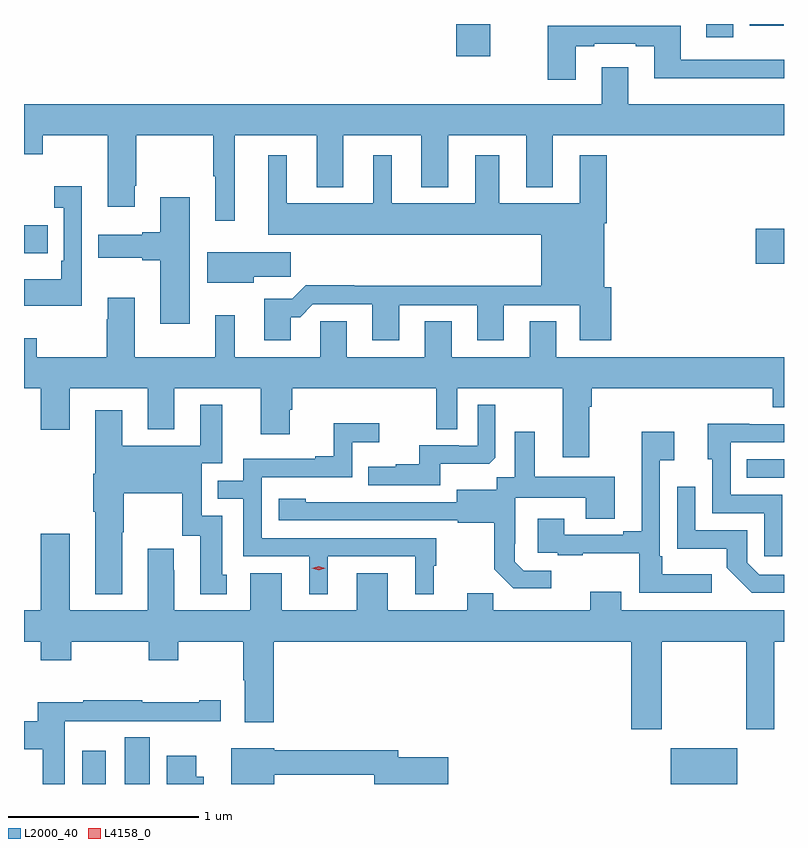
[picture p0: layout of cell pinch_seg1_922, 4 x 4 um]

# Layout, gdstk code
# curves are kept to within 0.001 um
import gdstk
lib = gdstk.Library(unit=1e-6, precision=1e-09)
def R(c, l, rs):  # rectangles x0, y0, x1, y1
    for r in rs: c.add(gdstk.rectangle(r[:2], r[2:], *l))
def P(c, l, *ps):  # polygons
    for p in ps: c.add(gdstk.Polygon(p, *l))
L2000_40 = (2000, 40)
L4158_0 = (4158, 0)

pinch_seg1_922 = lib.new_cell('pinch_seg1_922')
R(pinch_seg1_922, L2000_40, [(144.938,569.63,145.06,569.806), (145.16,569.63,145.294,569.876), (148.034,569.63,148.384,569.818), (148.435,571.242,148.631,571.338), (148.482,572.369,148.631,572.552), (144.631,572.423,144.755,572.571), (146.906,573.459,147.084,573.63), (148.223,573.561,148.363,573.63), (148.451,573.62,148.63,573.63)])
P(pinch_seg1_922, L2000_40, [(147.535,573.513),(147.631,573.513),(147.631,573.525),(147.851,573.525),(147.851,573.513),(147.947,573.513),(147.947,573.344),(148.631,573.344),(148.631,573.441),(148.087,573.441),(148.087,573.622),(147.388,573.622),(147.388,573.336),(147.535,573.336)],
  [(145.741,573.044),(146.171,573.044),(146.171,572.771),(146.311,572.771),(146.311,573.044),(146.723,573.044),(146.723,572.771),(146.863,572.771),(146.863,573.044),(147.275,573.044),(147.275,572.771),(147.415,572.771),(147.415,573.044),(148.631,573.044),(148.631,573.208),(147.811,573.208),(147.811,573.403),(147.671,573.403),(147.671,573.208),(144.631,573.208),(144.631,572.945),(144.729,572.945),(144.729,573.044),(145.073,573.044),(145.073,572.667),(145.213,572.667),(145.213,572.779),(145.221,572.779),(145.221,573.044),(145.627,573.044),(145.627,572.828),(145.637,572.828),(145.637,572.595),(145.741,572.595)],
  [(146.035,572.087),(146.084,572.087),(146.151,572.154),(146.465,572.154),(146.465,571.965),(146.605,571.965),(146.605,572.151),(147.017,572.151),(147.017,571.965),(147.157,571.965),(147.157,572.151),(147.557,572.151),(147.557,571.965),(147.722,571.965),(147.722,572.244),(147.685,572.244),(147.685,572.582),(147.698,572.582),(147.698,572.938),(147.557,572.938),(147.557,572.686),(147.133,572.686),(147.133,572.938),(147.005,572.938),(147.005,572.686),(146.566,572.686),(146.566,572.938),(146.468,572.938),(146.468,572.686),(146.014,572.686),(146.014,572.938),(145.916,572.938),(145.916,572.522),(147.353,572.522),(147.353,572.252),(146.369,572.252),(146.369,572.255),(146.114,572.255),(146.044,572.185),(145.895,572.185),(145.895,571.965),(146.035,571.965)],
  [(144.936,572.776),(144.789,572.776),(144.789,572.663),(144.84,572.663),(144.84,572.383),(144.828,572.383),(144.828,572.287),(144.631,572.287),(144.631,572.147),(144.936,572.147)],
  [(145.504,572.719),(145.349,572.719),(145.349,572.534),(145.253,572.534),(145.253,572.521),(145.023,572.521),(145.023,572.399),(145.253,572.399),(145.253,572.387),(145.349,572.387),(145.349,572.052),(145.504,572.052)],
  [(145.84,572.299),(146.035,572.299),(146.035,572.428),(145.596,572.428),(145.596,572.267),(145.84,572.267)],
  [(147.607,571.616),(147.62,571.616),(147.62,571.712),(148.571,571.712),(148.571,571.613),(148.631,571.613),(148.631,571.876),(147.433,571.876),(147.433,572.066),(147.293,572.066),(147.293,571.876),(146.881,571.876),(146.881,572.066),(146.741,572.066),(146.741,571.876),(146.329,571.876),(146.329,572.066),(146.19,572.066),(146.19,571.876),(145.741,571.876),(145.741,572.098),(145.637,572.098),(145.637,571.876),(145.213,571.876),(145.213,572.188),(145.073,572.188),(145.073,572.075),(145.066,572.075),(145.066,571.876),(144.699,571.876),(144.699,571.975),(144.631,571.975),(144.631,571.712),(144.719,571.712),(144.719,571.494),(144.871,571.494),(144.871,571.712),(145.283,571.712),(145.283,571.496),(145.423,571.496),(145.423,571.712),(145.877,571.712),(145.877,571.47),(146.029,571.47),(146.029,571.599),(146.042,571.599),(146.042,571.712),(146.802,571.712),(146.802,571.498),(146.91,571.498),(146.91,571.712),(147.467,571.712),(147.467,571.35),(147.607,571.35)],
  [(146.821,571.316),(147.079,571.316),(147.111,571.347),(147.111,571.627),(147.018,571.627),(147.018,571.41),(146.918,571.41),(146.918,571.413),(146.711,571.413),(146.711,571.312),(146.587,571.312),(146.587,571.3),(146.443,571.3),(146.443,571.203),(146.821,571.203)],
  [(145.147,570.955),(145.155,570.955),(145.155,571.16),(145.463,571.16),(145.463,570.936),(145.559,570.936),(145.559,570.63),(145.699,570.63),(145.699,570.732),(145.675,570.732),(145.675,571.041),(145.566,571.041),(145.566,571.317),(145.675,571.317),(145.675,571.627),(145.559,571.627),(145.559,571.411),(145.147,571.411),(145.147,571.597),(145.007,571.597),(145.007,571.264),(144.995,571.264),(144.995,571.064),(145.007,571.064),(145.007,570.629),(145.147,570.629)],
  [(146.23,570.828),(146.69,570.828),(146.69,570.629),(146.788,570.629),(146.788,570.78),(146.8,570.78),(146.8,570.924),(145.881,570.924),(145.881,571.245),(146.358,571.245),(146.358,571.43),(146.5,571.43),(146.5,571.529),(146.26,571.529),(146.26,571.354),(146.165,571.354),(146.165,571.341),(145.785,571.341),(145.785,571.227),(145.651,571.227),(145.651,571.131),(145.785,571.131),(145.785,570.828),(146.132,570.828),(146.132,570.629),(146.23,570.629)],
  [(148.623,571.152),(148.35,571.152),(148.35,571.428),(148.631,571.428),(148.631,571.524),(148.447,571.524),(148.447,571.526),(148.229,571.526),(148.229,571.338),(148.254,571.338),(148.254,571.056),(148.527,571.056),(148.527,570.828),(148.623,570.828)],
  [(148.252,570.733),(147.991,570.733),(147.991,570.829),(147.978,570.829),(147.978,571.334),(148.054,571.334),(148.054,571.483),(147.881,571.483),(147.881,570.961),(147.785,570.961),(147.785,570.942),(147.475,570.942),(147.475,571.027),(147.335,571.027),(147.335,570.846),(147.439,570.846),(147.439,570.834),(147.571,570.834),(147.571,570.845),(147.87,570.845),(147.87,570.636),(148.252,570.636)],
  [(147.406,570.753),(147.261,570.753),(147.214,570.8),(147.214,570.895),(147.216,570.895),(147.216,571.136),(147.587,571.136),(147.587,571.027),(147.739,571.027),(147.739,571.246),(147.319,571.246),(147.319,571.483),(147.215,571.483),(147.215,571.244),(147.12,571.244),(147.12,571.18),(146.909,571.18),(146.909,571.113),(146.115,571.114),(146.115,571.132),(145.971,571.132),(145.971,571.017),(146.913,571.017),(146.913,571.005),(147.105,571.005),(147.105,570.759),(147.205,570.659),(147.406,570.659)],
  [(148.631,570.732),(148.5,570.732),(148.437,570.795),(148.437,570.966),(148.164,570.966),(148.164,571.195),(148.068,571.195),(148.068,570.869),(148.33,570.869),(148.33,570.767),(148.46,570.636),(148.631,570.636)],
  [(147.827,569.919),(147.987,569.919),(147.987,570.38),(148.432,570.38),(148.432,569.919),(148.579,569.919),(148.579,570.38),(148.631,570.38),(148.631,570.544),(147.775,570.544),(147.775,570.643),(147.611,570.643),(147.611,570.544),(147.101,570.544),(147.101,570.635),(146.963,570.635),(146.963,570.544),(146.545,570.544),(146.545,570.739),(146.381,570.739),(146.381,570.544),(145.987,570.544),(145.987,570.739),(145.823,570.739),(145.823,570.544),(145.423,570.544),(145.423,570.755),(145.42,570.755),(145.42,570.868),(145.283,570.868),(145.283,570.544),(144.871,570.544),(144.871,570.946),(144.719,570.946),(144.719,570.544),(144.631,570.544),(144.631,570.38),(144.719,570.38),(144.719,570.281),(144.879,570.281),(144.879,570.38),(145.288,570.38),(145.288,570.281),(145.443,570.281),(145.443,570.38),(145.786,570.38),(145.786,570.176),(145.793,570.176),(145.793,569.955),(145.946,569.955),(145.946,570.38),(147.827,570.38)],
  [(144.846,569.96),(145.056,569.96),(145.056,569.961),(145.39,569.961),(145.39,569.96),(145.666,569.96),(145.666,570.07),(145.553,570.07),(145.553,570.06),(145.253,570.06),(145.253,570.07),(144.943,570.07),(144.943,570.06),(144.704,570.06),(144.704,569.961),(144.631,569.961),(144.631,569.813),(144.73,569.813),(144.73,569.63),(144.846,569.63)],
  [(145.948,569.679),(146.474,569.679),(146.474,569.63),(146.863,569.63),(146.863,569.771),(146.602,569.771),(146.602,569.807),(145.948,569.807),(145.948,569.818),(145.721,569.818),(145.721,569.63),(145.948,569.63)],
  [(145.576,569.668),(145.537,569.668),(145.537,569.779),(145.382,569.779),(145.382,569.63),(145.576,569.63)])
P(pinch_seg1_922, L4158_0, [(146.181,570.755),(146.145,570.765),(146.145,570.765),(146.145,570.765),(146.181,570.775),(146.217,570.765),(146.217,570.765),(146.217,570.765)])

lib.write_gds('pinch_seg1_922.gds')
